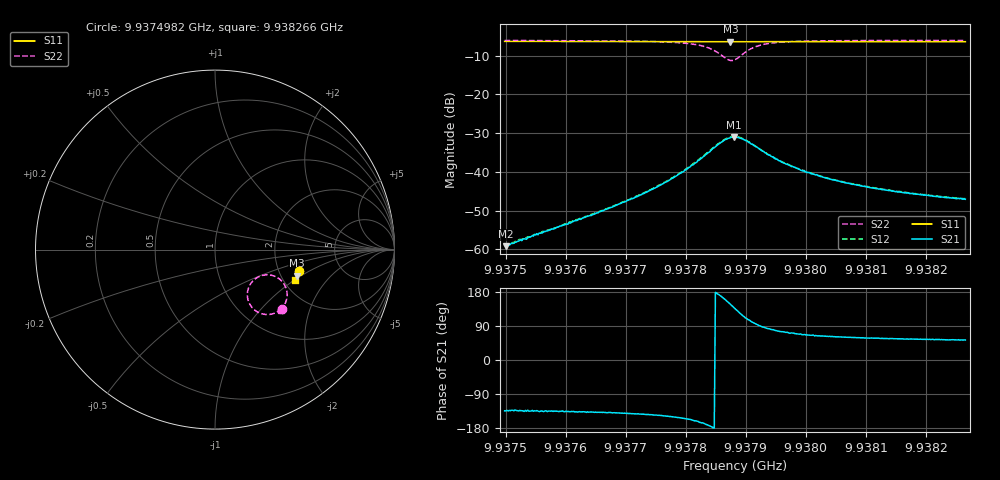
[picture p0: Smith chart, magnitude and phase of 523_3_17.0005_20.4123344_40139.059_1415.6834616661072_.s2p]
#  HZ  S  RI  R  50.00
! Rohde & Schwarz Vector Network Analyzer
! Rohde-Schwarz,ZNB20-2Port,1311601062101988,3.16
! Created: UTC 3/20/2024, 11:15:35 PM
! freq[Hz]  re:S11  im:S11  re:S21  im:S21  re:S12  im:S12  re:S22  im:S22
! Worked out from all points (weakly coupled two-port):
!   401 points, 9.9374982 GHz to 9.938266 GHz, reference 50 ohm
!   highest |S21| = -31.01 dB at 9.9378802 GHz (marker M1); lowest = -59.2 dB at 9.9375001 GHz (marker M2)
!   lowest |S11| = -6.4 dB at 9.9378744 GHz (marker M3), VSWR 2.83, Z = 121 - j45.6 ohm
!   |S11| at or under -10 dB: nowhere
!   |S22| runs from -11.3 to -6.1 dB; largest |S21 - S12| = 0.0012
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9.9374982e9  0.4672 -0.1214  -0.000785 -0.000812  -0.000772 -0.000782  0.3706 -0.3301
9.93750012e9  0.4672 -0.1216  -0.000766 -0.000784  -0.000788 -0.000814  0.3705 -0.3303
9.93752124e9  0.4668 -0.1228  -0.000892 -0.000904  -0.00092 -0.000949  0.3685 -0.332
9.93762681e9  0.4643 -0.1302  -0.00181 -0.00171  -0.00184 -0.0017  0.3547 -0.3422
9.93768632e9  0.4628 -0.1341  -0.00287 -0.00243  -0.00291 -0.0024  0.3428 -0.3491
9.93775542e9  0.4609 -0.1387  -0.00548 -0.00368  -0.00564 -0.00369  0.3172 -0.3586
9.93779957e9  0.4593 -0.1419  -0.0096 -0.0045  -0.00979 -0.00444  0.2812 -0.3613
9.93783412e9  0.4576 -0.1441  -0.0166 -0.00283  -0.017 -0.00264  0.2259 -0.3407
9.93784564e9  0.4569 -0.1447  -0.0201 -0.000543  -0.0205 -0.000153  0.2018 -0.3169
9.93785907e9  0.456 -0.1449  -0.0236 0.00494  -0.0239 0.00563  0.1813 -0.2671
9.93787443e9  0.4553 -0.1448  -0.0232 0.0149  -0.0231 0.0161  0.1996 -0.1886
9.93788019e9  0.4555 -0.1445  -0.021 0.0187  -0.0209 0.0197  0.2227 -0.1639
9.93788211e9  0.4554 -0.1446  -0.0201 0.0197  -0.0197 0.0206  0.232 -0.1574
9.93789747e9  0.4561 -0.1448  -0.0106 0.0236  -0.01 0.0244  0.3115 -0.1423
9.9379109e9  0.4567 -0.1458  -0.00389 0.0225  -0.00328 0.0225  0.3609 -0.165
9.93792626e9  0.4569 -0.147  0.000566 0.0189  0.000893 0.0191  0.3885 -0.1985
9.93796273e9  0.4564 -0.15  0.00351 0.0126  0.00392 0.0127  0.4019 -0.2536
9.93798192e9  0.456 -0.1516  0.00404 0.0107  0.00425 0.0106  0.4003 -0.2706
9.93801072e9  0.4554 -0.1535  0.00393 0.0085  0.00404 0.00859  0.3958 -0.2881
9.93806254e9  0.454 -0.1572  0.00363 0.00639  0.00375 0.00638  0.3876 -0.3067
9.93813933e9  0.4519 -0.1624  0.00318 0.00479  0.00328 0.00477  0.3778 -0.3222
9.93826601e9  0.4484 -0.1704  0.00268 0.00351  0.00277 0.00354  0.3659 -0.3369
